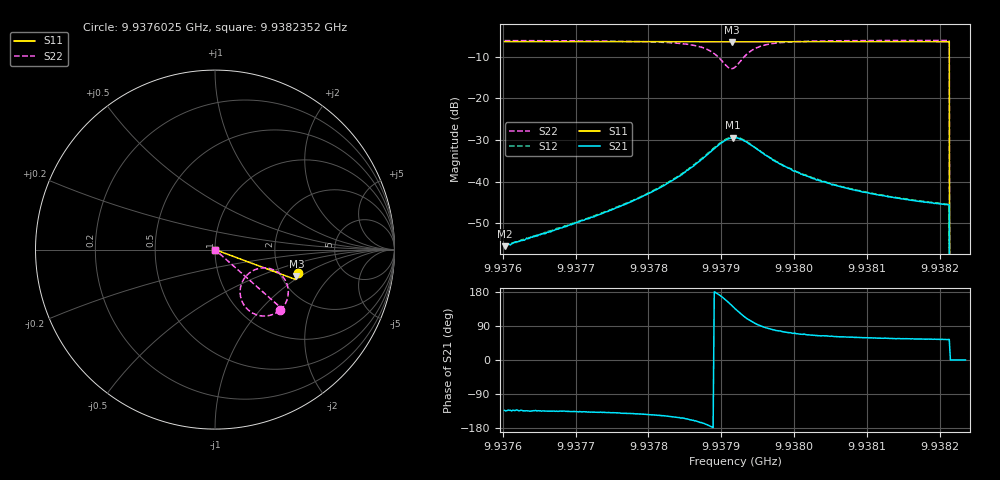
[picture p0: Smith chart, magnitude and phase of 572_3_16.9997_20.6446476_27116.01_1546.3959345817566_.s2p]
#  HZ  S  RI  R  50.00
! Rohde & Schwarz Vector Network Analyzer
! Rohde-Schwarz,ZNB20-2Port,1311601062101988,3.16
! Created: UTC 3/20/2024, 11:17:46 PM
! freq[Hz]  re:S11  im:S11  re:S21  im:S21  re:S12  im:S12  re:S22  im:S22
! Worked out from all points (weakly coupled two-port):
!   401 points, 9.9376025 GHz to 9.9382352 GHz, reference 50 ohm
!   highest |S21| = -29.45 dB at 9.9379157 GHz (marker M1); lowest = -55.5 dB at 9.9376025 GHz (marker M2)
!   lowest |S11| = -6.4 dB at 9.9379141 GHz (marker M3), VSWR 2.82, Z = 121 - j45.8 ohm
!   |S11| at or under -10 dB: 9.9382131 GHz to end of sweep
!   |S22| runs from - to -6.1 dB; largest |S21 - S12| = 0.0016
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9.93760245e9  0.465 -0.1281  -0.00114 -0.00123  -0.0012 -0.00125  0.362 -0.3382
9.93770844e9  0.4623 -0.1354  -0.00249 -0.00232  -0.00255 -0.00234  0.345 -0.3501
9.93777014e9  0.4607 -0.1397  -0.00421 -0.00342  -0.00435 -0.00341  0.3262 -0.3595
9.93781443e9  0.4593 -0.1426  -0.0069 -0.00466  -0.00713 -0.00465  0.3008 -0.3673
9.93784607e9  0.4581 -0.145  -0.0108 -0.00556  -0.0113 -0.00546  0.266 -0.3698
9.93787613e9  0.4564 -0.1468  -0.0191 -0.00434  -0.0195 -0.00397  0.2017 -0.3489
9.93788878e9  0.4554 -0.1475  -0.0243 -0.000613  -0.025 -1.07e-05  0.1641 -0.3129
9.93789986e9  0.4543 -0.1474  -0.0286 0.00598  -0.0289 0.00705  0.141 -0.2524
9.93790935e9  0.454 -0.147  -0.0289 0.0148  -0.0291 0.0161  0.1513 -0.1817
9.93791409e9  0.4538 -0.1466  -0.0272 0.0195  -0.0269 0.0209  0.1728 -0.1481
9.93791568e9  0.4539 -0.1467  -0.0264 0.0209  -0.0261 0.0222  0.182 -0.1386
9.93791884e9  0.4541 -0.1466  -0.024 0.0235  -0.0237 0.0247  0.2037 -0.1219
9.93792833e9  0.4547 -0.1463  -0.0158 0.028  -0.015 0.029  0.2764 -0.102
9.93793782e9  0.4554 -0.1469  -0.00786 0.0275  -0.00714 0.0283  0.3366 -0.1174
9.93795364e9  0.456 -0.1481  -0.000243 0.0231  0.000381 0.0233  0.3888 -0.1663
9.93798212e9  0.456 -0.1507  0.0039 0.0156  0.00449 0.0156  0.4081 -0.2318
9.93802483e9  0.455 -0.1543  0.00453 0.0101  0.00486 0.01  0.4019 -0.2775
9.93806754e9  0.4539 -0.1573  0.00413 0.00747  0.00432 0.00746  0.393 -0.2992
9.93813082e9  0.4522 -0.1616  0.00357 0.00551  0.0037 0.00551  0.3828 -0.3164
9.93820991e9  0.4501 -0.1667  0.00313 0.00428  0.00321 0.00429  0.3731 -0.329
9.93821782e9  0 0  0 0  0 0  0 0
9.93823522e9  0 0  0 0  0 0  0 0
